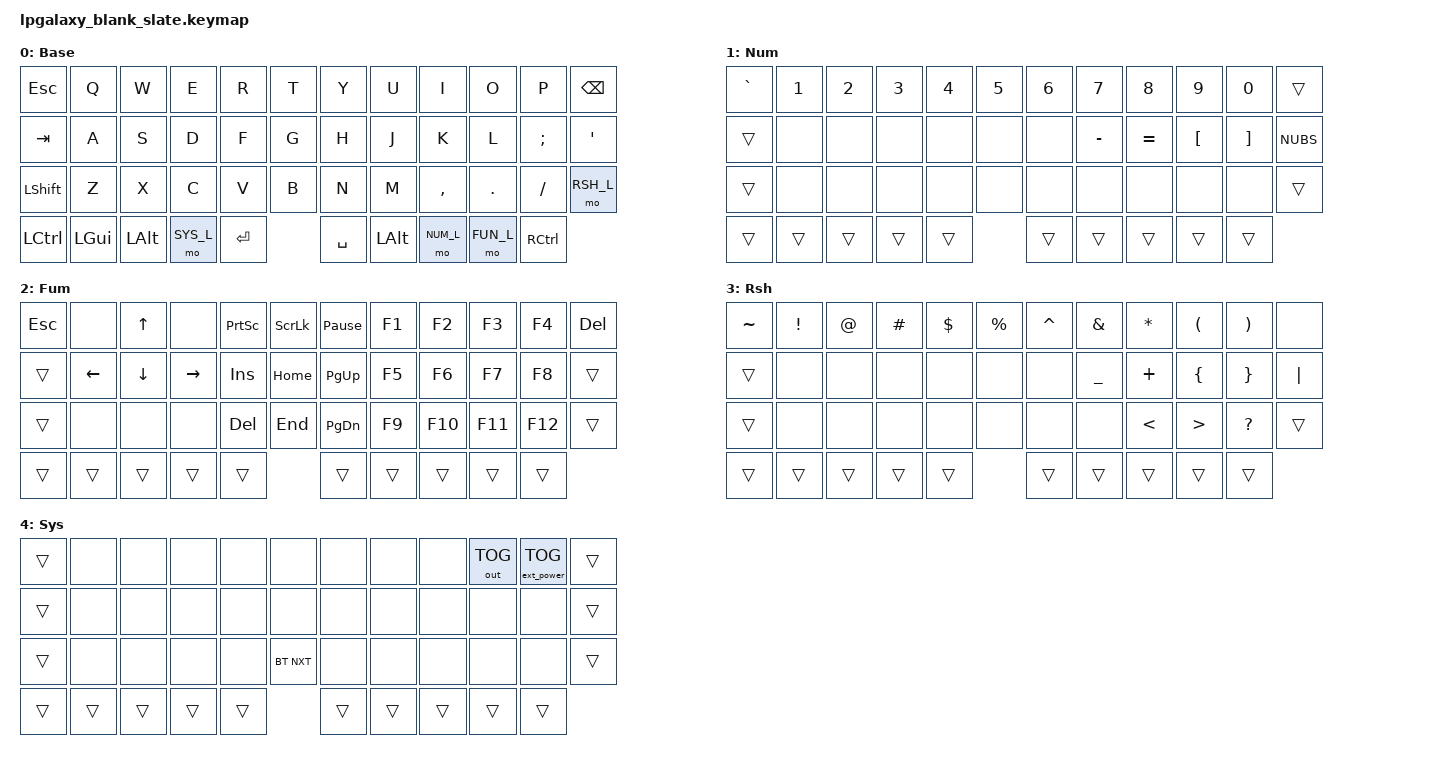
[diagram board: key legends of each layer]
/*
 * Copyright (c) 2022 Pete Johanson
 *
 * SPDX-License-Identifier: MIT
 */

#include <behaviors.dtsi>
#include <dt-bindings/zmk/keys.h>
#include <dt-bindings/zmk/bt.h>
#include <dt-bindings/zmk/outputs.h>

#define QWERTY_BASE 1

// #define TBLE_ORTHO   1
// #define TBLE_MIT     1
#define TBLE_DUAL_2U 1

#define NUM_L 1
#define FUN_L 2
#define RSH_L 3
#define SYS_L 4

// Using layer taps on thumbs, having quick tap as well helps w/ repeating space/backspace
&lt { quick_tap_ms = <200>; };

#define BT(n) BT_SEL n

/ {
    chosen {
       zmk,matrix_transform =
#ifdef TBLE_DUAL_2U
                       &dual_2u_transform;
#elif defined(TBLE_MIT)
                       &mit_transform;
#else
                       &ortho_transform;
#endif
    };

    macros {
      ZMK_MACRO(thumbs_up,
		wait-ms = <1>;
		tap-ms = <5>;
                bindings = <&kp PLUS &kp COLON &kp PLUS &kp N1 &kp COLON &kp RET>;
		)
    };
    
    tap_dances {
    	shifty: shift_caps_word {
		compatible = "zmk,behavior-tap-dance";
		label = "TD_SHIFTY";
		#binding-cells = <0>;
		tapping-term-ms = <150>;
		bindings = <&kp LSHFT>, <&caps_word>;
	};
    };

// Conditional layer only when we have less thumb keys
#ifdef TBLE_DUAL_2U
    cond_layers {
        compatible = "zmk,conditional-layers";
	tri {
	    if-layers = <NUM_L NAV_L>;
	    then-layer = <SYM_L>;
        };
    };
#endif

    keymap {
        compatible = "zmk,keymap";

        base_layer {
            label = "Base";
            bindings = <
#ifdef QWERTY_BASE
 &kp ESC    &kp Q      &kp W      &kp E       &kp R          &kp T          &kp Y            &kp U          &kp I       &kp O      &kp P         &kp BKSP
 &kp TAB    &kp A      &kp S      &kp D       &kp F          &kp G          &kp H            &kp J          &kp K       &kp L      &kp SEMI      &kp QUOT
 &kp LSHFT  &kp Z      &kp X      &kp C       &kp V          &kp B          &kp N            &kp M          &kp COMMA   &kp DOT    &kp FSLH      &mo RSH_L
#else
 &kp ESC    &kp Q      &kp W      &kp F       &kp P          &kp B          &kp J            &kp L          &kp U       &kp Y      &kp QUOT      &kp BKSP
 &kp TAB    &kp A      &kp R      &kp S       &kp T          &kp G          &kp M            &kp N          &kp E       &kp I      &kp O         &kp QUOT
 &kp LSHFT  &kp Z      &kp X      &kp C       &kp D          &kp V          &kp K            &kp H          &kp COMMA   &kp DOT    &kp SEMI      &kp RET
#endif
#ifdef TBLE_DUAL_2U
 &kp LCTRL  &kp LGUI   &kp LALT   &mo SYS_L         &kp ENTER         &kp SPACE                &kp LALT   &mo NUM_L   &mo FUN_L      &kp RCTRL
#elif defined(TBLE_MIT)
 &kp LCTRL  &trans   &kp LGUI  &kp LALT    &trans          &kp SPACE                   &trans      &kp LEFT    &kp UP     &kp DOWN      &kp RIGHT
#else
 &kp LCTRL  &trans   &kp LGUI  &kp LALT    &trans      &kp ENTER      &kp SPACE          &mo RALT      &kp LEFT    &kp UP     &kp DOWN      &kp RIGHT
#endif
            >;
        };

        num_layer {
            label = "Num";
            bindings = <
&kp GRAVE  &kp N1  &kp N2  &kp N3  &kp N4  &kp N5  &kp N6  &kp N7     &kp N8     &kp N9    &kp N0    &trans
&trans     &none   &none   &none   &none   &none   &none   &kp MINUS  &kp EQUAL  &kp LBKT  &kp RBKT  &kp NUBS
&trans     &none   &none   &none   &none   &none   &none   &none      &none      &none     &none     &trans
#ifdef TBLE_DUAL_2U
&trans     &trans  &trans  &trans  &trans          &trans             &trans     &trans    &trans    &trans
#elif defined(TBLE_MIT)
&trans  &trans        &trans     &trans      &trans                &trans             &trans      &trans   &trans &trans &trans
#else
&trans  &trans        &trans     &trans      &trans          &trans       &trans    &trans  &trans         &trans &trans &trans
#endif
            >;
        };

        fun_layer {
            label = "Fum";
            bindings = <
&kp ESC  &none     &kp UP    &none      &kp PSCRN  &kp SLCK  &kp PAUSE_BREAK  &kp F1  &kp F2   &kp F3   &kp F4   &kp DEL
&trans   &kp LEFT  &kp DOWN  &kp RIGHT  &kp INS    &kp HOME  &kp PG_UP        &kp F5  &kp F6   &kp F7   &kp F8   &trans
&trans   &none     &none     &none      &kp DEL    &kp END   &kp PG_DN        &kp F9  &kp F10  &kp F11  &kp F12  &trans
#ifdef TBLE_DUAL_2U
&trans   &trans    &trans    &trans     &trans               &trans                   &trans   &trans   &trans   &trans
#elif defined(TBLE_MIT)
&trans  &trans       &trans     &kp N0      &trans           &none            &trans        &kp DEL      &trans &trans &trans
#else
&trans  &trans       &trans     &kp N0      &trans    &none         &none     &kp ESC        &kp DEL      &trans &trans &trans
#endif
            >;
        };

        rsh_layer {
            label = "Rsh";
            bindings = <
&kp TILDE  &kp EXCL  &kp AT  &kp HASH  &kp DLLR  &kp PRCNT  &kp CARET  &kp AMPS   &kp STAR  &kp LPAR  &kp RPAR   &none
&trans     &none     &none   &none     &none     &none      &none      &kp UNDER  &kp PLUS  &kp LBRC  &kp RBRC   &kp PIPE
&trans     &none     &none   &none     &none     &none      &none      &none      &kp LT    &kp GT    &kp QMARK  &trans
#ifdef TBLE_DUAL_2U
&trans     &trans    &trans  &trans    &trans               &trans                &trans    &trans    &trans     &trans
#elif defined(TBLE_MIT)
&trans &trans        &trans     &trans        &trans                &trans             &trans      &trans   &trans &trans &trans
#else
&trans &trans        &trans     &trans        &trans          &trans       &trans    &trans  &trans         &trans &trans &trans
#endif
            >;
        };

        
        sys_layer {
            label = "Sys";
            bindings = <
&trans  &none   &none   &none   &none   &none       &none   &none  &none   &out OUT_TOG  &ext_power EP_TOG  &trans
&trans  &none   &none   &none   &none   &none       &none   &none  &none   &none         &none              &trans
&trans  &none   &none   &none   &none   &bt BT_NXT  &none   &none  &none   &none         &none              &trans

#ifdef TBLE_DUAL_2U
&trans  &trans  &trans  &trans  &trans              &trans         &trans  &trans        &trans             &trans
#elif defined(TBLE_MIT)
&trans &trans        &trans     &trans        &trans                &trans             &trans      &trans   &trans &trans &trans
#else
&trans &trans        &trans     &trans        &trans          &trans       &trans    &trans  &trans         &trans &trans &trans
#endif
            >;
        };


    };
};
